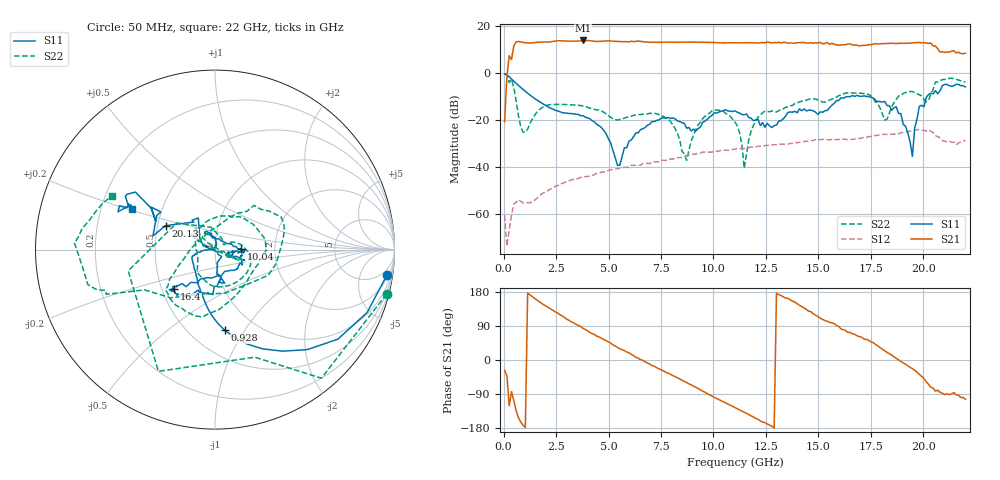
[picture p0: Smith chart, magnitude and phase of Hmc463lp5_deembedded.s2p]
!Hittite Microwave Corporation
!20 Alpha Rd
!Chelmsford, MA 01824
!Tel: 978-250-3343
!Fax: 978-250-3373
!Device: HMC463LP3, 2 - 20 GHz GaAs pHEMT MMIC LNA  in leadless QFN SMT package
!Misc: Data taken on a part mounted evaluation PCB 108339-1,Bias: Vdd=+5VDC, Vgg=-0.94VDC, Idd=60mA
# MHZ S MA R 50
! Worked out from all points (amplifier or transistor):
!   201 points, 50 MHz to 22 GHz, reference 50 ohm
!   highest |S21| = 14.0 dB at 3.781 GHz (marker M1)
!   |S21| within 3 dB of that: 475.7 MHz to 20.63 GHz (20.16 GHz wide, 191 % of centre)
!   unconditionally stable (mu >= 1): start of sweep to end of sweep
!   at 3.672 GHz: K = 15.85, MAG = 14.1 dB, |S12| = -44.3 dB
!   at 11.03 GHz: K = 4.58, MAG = 13.1 dB, |S12| = -32.4 dB
!   at 22 GHz: K = 2.34, MAG = 12.0 dB, |S12| = -28.4 dB
!   S11 on the Smith chart (normalised r, x): 50 MHz: 3, -13; 928 MHz: 0.73, -0.82; 10.04 GHz: 1.34, +0.01; 16.4 GHz: 0.58, -0.28; 20.13 GHz: 0.55, +0.16; 22 GHz: 0.34, +0.21
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50  0.969 -8.3  0.093 -26.8  0.0009437 -66.3  0.988 -14.5
159.75  0.917 -22.5  0.852 -42.4  0.0002076 -11.5  0.93 -50.4
269.5  0.847 -36.1  2.379 -120.8  0.0004539 128.7  0.639 -69.7
379.25  0.758 -47.3  1.956 -83.4  0.0009694 -36.2  0.748 -114.9
489  0.68 -56.3  3.855 -107.2  0.001639 -90.5  0.498 -166.2
708.5  0.553 -71.6  4.772 -151.6  0.002025 -179.2  0.126 99.8
928  0.453 -83.0  4.54 -172.0  0.001724 149.3  0.056 34.0
2574.25  0.158 -136.6  4.933 123.9  0.004067 89.9  0.218 -41.4
3781.5  0.125 -165.0  5.017 83.7  0.006098 55.6  0.201 -95.1
5537.5  0.011 108.8  4.781 29.4  0.009534 12.7  0.104 179.7
7403.25  0.102 110.9  4.547 -23.3  0.013 -32.0  0.133 134.3
10037.25  0.144 1.6  4.539 -98.5  0.022 -97.9  0.165 -21.1
11025  0.159 -5.9  4.46 -125.7  0.024 -123.5  0.092 -28.3
11464  0.131 -8.6  4.485 -138.1  0.025 -135.2  0.009521 -18.2
13110.25  0.096 -26.8  4.577 172.5  0.031 -177.2  0.16 110.0
14756.5  0.158 -47.0  4.357 121.8  0.037 137.3  0.286 3.3
16402.75  0.319 -136.0  4.212 72.7  0.039 93.9  0.383 -103.8
18378.25  0.204 -87.1  4.373 16.7  0.051 36.4  0.141 79.2
19475.75  0.017 -46.3  4.492 -22.8  0.06 -1.0  0.407 18.8
20134.25  0.306 154.2  4.429 -57.3  0.059 -37.2  0.249 -77.4
20573.25  0.428 146.3  3.812 -82.2  0.047 -66.8  0.655 -157.6
22000  0.513 154.0  2.686 -103.5  0.038 -74.8  0.648 152.6
